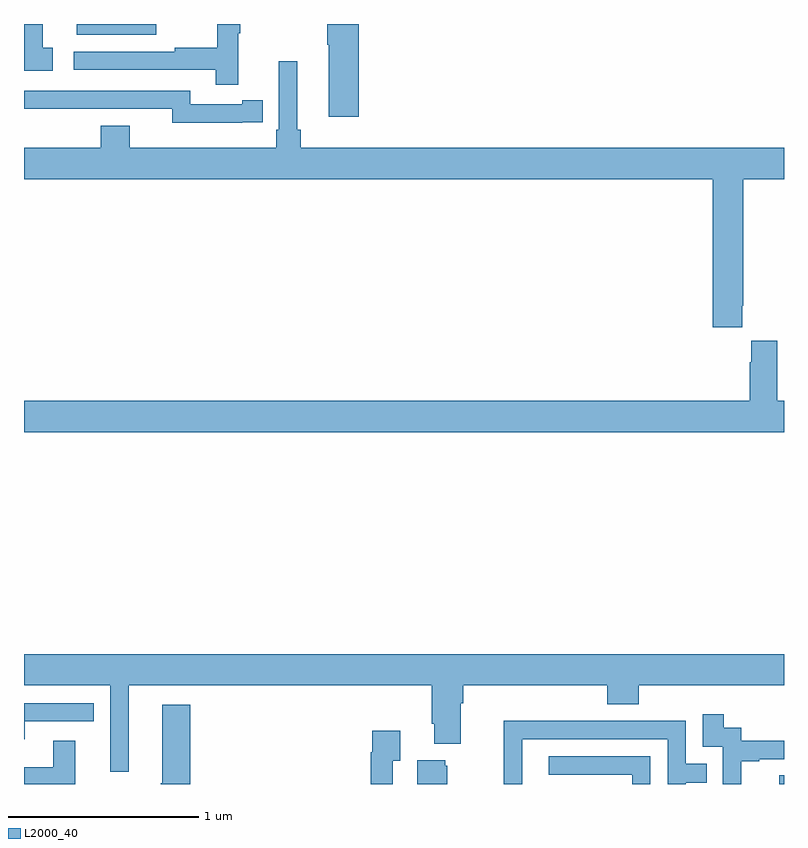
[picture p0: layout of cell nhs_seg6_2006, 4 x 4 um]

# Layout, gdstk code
import gdstk
lib = gdstk.Library(unit=1e-6, precision=1e-09)
def R(c, l, rs):  # rectangles x0, y0, x1, y1
    for r in rs: c.add(gdstk.rectangle(r[:2], r[2:], *l))
def P(c, l, *ps):  # polygons
    for p in ps: c.add(gdstk.Polygon(p, *l))
L2000_40 = (2000, 40)

nhs_seg6_2006 = lib.new_cell('nhs_seg6_2006')
R(nhs_seg6_2006, L2000_40, [(234.975,929.5,235,929.545), (231.278,933.443,231.697,933.5)])
P(nhs_seg6_2006, L2000_40, [(231.151,933.375),(231.098,933.375),(231.098,933.5),(231,933.5),(231,933.255),(231.151,933.255)],
  [(232.763,933.5),(232.597,933.5),(232.597,933.391),(232.604,933.391),(232.604,933.012),(232.763,933.012)],
  [(232.127,933.451),(232.138,933.451),(232.138,933.5),(232.017,933.5),(232.017,933.374),(231.793,933.374),(231.793,933.354),(231.261,933.354),(231.261,933.258),(232.009,933.258),(232.009,933.18),(232.127,933.18)],
  [(234.781,932.017),(234.786,932.017),(234.786,932.684),(235,932.684),(235,932.848),(232.457,932.848),(232.457,932.944),(232.438,932.944),(232.438,933.304),(232.341,933.304),(232.341,932.944),(232.328,932.944),(232.328,932.848),(231.556,932.848),(231.556,932.965),(231.404,932.965),(231.404,932.848),(231,932.848),(231,932.684),(234.626,932.684),(234.626,931.905),(234.781,931.905)],
  [(232.148,932.982),(232.256,932.982),(232.256,933.098),(232.148,933.098),(232.148,933.078),(231.876,933.078),(231.876,933.15),(231,933.15),(231,933.053),(231.32,933.053),(231.32,933.054),(231.78,933.054),(231.78,932.981),(232.148,932.981)],
  [(235,931.516),(234.964,931.516),(234.964,931.834),(234.827,931.834),(234.827,931.721),(234.821,931.721),(234.821,931.516),(231,931.516),(231,931.352),(235,931.352)],
  [(231.55,930.02),(233.147,930.02),(233.147,929.818),(233.159,929.818),(233.159,929.711),(233.299,929.711),(233.299,929.924),(233.312,929.924),(233.312,930.02),(234.071,930.02),(234.071,929.921),(234.236,929.921),(234.236,930.02),(235,930.02),(235,930.184),(231,930.184),(231,930.02),(231.453,930.02),(231.453,929.565),(231.55,929.565)],
  [(231.004,929.829),(231.368,929.829),(231.368,929.925),(231,929.925),(231,929.735),(231.004,929.735)],
  [(231.875,929.917),(231.728,929.917),(231.728,929.504),(231.721,929.504),(231.721,929.5),(231.875,929.5)],
  [(234.776,929.619),(234.871,929.619),(234.871,929.631),(235,929.631),(235,929.727),(234.774,929.727),(234.774,929.796),(234.682,929.796),(234.682,929.866),(234.573,929.866),(234.573,929.697),(234.678,929.697),(234.678,929.5),(234.776,929.5)],
  [(233.622,929.736),(234.387,929.736),(234.387,929.5),(234.483,929.5),(234.483,929.506),(234.593,929.506),(234.593,929.607),(234.483,929.607),(234.483,929.832),(233.987,929.832),(233.987,929.834),(233.524,929.834),(233.524,929.527),(233.526,929.527),(233.526,929.5),(233.622,929.5)],
  [(232.941,929.623),(232.981,929.623),(232.981,929.779),(232.833,929.779),(232.833,929.666),(232.825,929.666),(232.825,929.5),(232.941,929.5)],
  [(231.271,929.728),(231.155,929.728),(231.155,929.587),(231,929.587),(231,929.5),(231.271,929.5)],
  [(234.297,929.646),(233.763,929.646),(233.763,929.55),(234.201,929.55),(234.201,929.5),(234.297,929.5)],
  [(233.227,929.595),(233.216,929.595),(233.216,929.626),(233.069,929.626),(233.069,929.5),(233.227,929.5)])

lib.write_gds('nhs_seg6_2006.gds')
